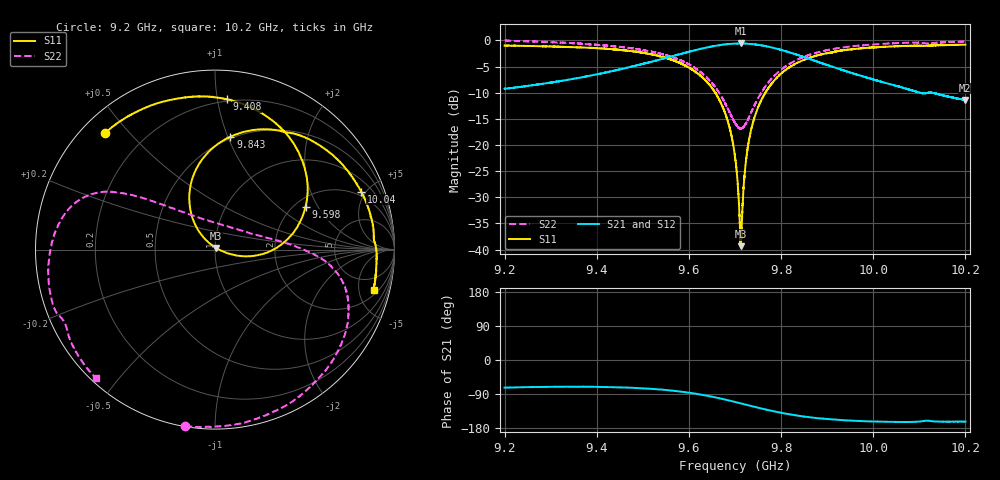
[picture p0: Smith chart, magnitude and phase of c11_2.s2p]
!Agilent Technologies,N5242A,MY51221714,A.09.90.19
!Agilent N5242A: A.09.90.19
!Date: Tuesday, March 26, 2024 15:42:13
!Correction: S11(Full 2 Port(1,2))
!S21(Full 2 Port(1,2))
!S12(Full 2 Port(1,2))
!S22(Full 2 Port(1,2))
!S2P File: Measurements: S11, S21, S12, S22:
# Hz S  dB  R 50
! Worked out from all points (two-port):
!   16001 points, 9.2 GHz to 10.2 GHz, reference 50 ohm
!   highest |S21| = -0.57 dB at 9.713 GHz (marker M1); lowest = -11.4 dB at 10.2 GHz (marker M2)
!   |S21| within 3 dB of the highest: 9.539732 GHz to 9.539772 GHz (39.73 kHz wide, 0.000416 % of centre); 9.54 GHz to 9.863 GHz (323 MHz wide, 3.33 % of centre)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
!   lowest |S11| = -39.4 dB at 9.713 GHz (marker M3), VSWR 1.02, Z = 50.6 + j0.917 ohm
!   |S11| at or under -10 dB: 9.657 GHz to 9.766 GHz (108.7 MHz wide, 1.12 % of centre)
!   |S22| runs from -16.9 to 0.0 dB; largest |S21 - S12| = 0.011
!   S11 on the Smith chart (normalised r, x): 9.2 GHz: 0.07, +0.43; 9.408 GHz: 0.19, +1.06; 9.598 GHz: 2.28, +1.57; 9.843 GHz: 0.49, +1.02; 10.04 GHz: 1.68, +4.65; 10.2 GHz: 2.67, -7.03
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9.2e9  -0.98 133.3  -9.24 -73.1  -9.23 -73.7  -0.02 -99.6
9.278812e9  -1.10 116.2  -8.34 -71.1  -8.33 -71.7  -0.24 -77.8
9.366688e9  -1.33 95.9  -7.07 -70.6  -7.05 -71.2  -0.64 -54.8
9.408125e9  -1.50 85.5  -6.32 -71.0  -6.33 -71.6  -0.88 -44.3
9.533375e9  -2.96 48.9  -3.74 -77.4  -3.72 -78.0  -2.41 -16.4
9.597688e9  -5.08 25.2  -2.22 -86.0  -2.21 -86.5  -4.46 -5.1
9.6655e9  -11.26 -4.7  -0.91 -100.8  -0.91 -101.3  -10.00 11.0
9.686688e9  -16.21 -13.6  -0.66 -106.8  -0.67 -107.2  -13.45 25.8
9.7e9  -22.16 -16.5  -0.60 -110.7  -0.60 -111.2  -15.74 45.7
9.7095e9  -33.16 0.5  -0.59 -113.6  -0.58 -114.0  -16.77 66.6
9.712562e9  -39.36 57.3  -0.58 -114.5  -0.57 -115.0  -16.75 74.1
9.712688e9  -39.20 59.6  -0.57 -114.5  -0.57 -115.1  -16.83 74.9
9.7275e9  -20.48 133.3  -0.63 -119.0  -0.62 -119.6  -15.24 107.4
9.747875e9  -13.30 125.4  -0.82 -125.2  -0.80 -125.8  -11.42 129.8
9.786125e9  -7.56 107.3  -1.48 -135.8  -1.47 -136.3  -6.69 143.3
9.843062e9  -3.95 82.2  -2.98 -148.0  -2.98 -148.4  -3.36 151.7
9.866688e9  -3.17 73.1  -3.69 -151.7  -3.69 -152.2  -2.60 155.0
9.933625e9  -1.90 50.5  -5.67 -158.8  -5.68 -159.2  -1.35 166.0
1.003338e10  -1.18 22.9  -8.30 -163.1  -8.29 -163.6  -0.59 -173.6
1.003831e10  -1.15 21.6  -8.41 -163.2  -8.41 -163.7  -0.56 -172.5
1.019969e10  -0.82 -14.1  -11.41 -162.4  -11.39 -162.8  -0.20 -132.9
1.02e10  -0.81 -14.2  -11.40 -162.4  -11.40 -162.9  -0.21 -132.8
